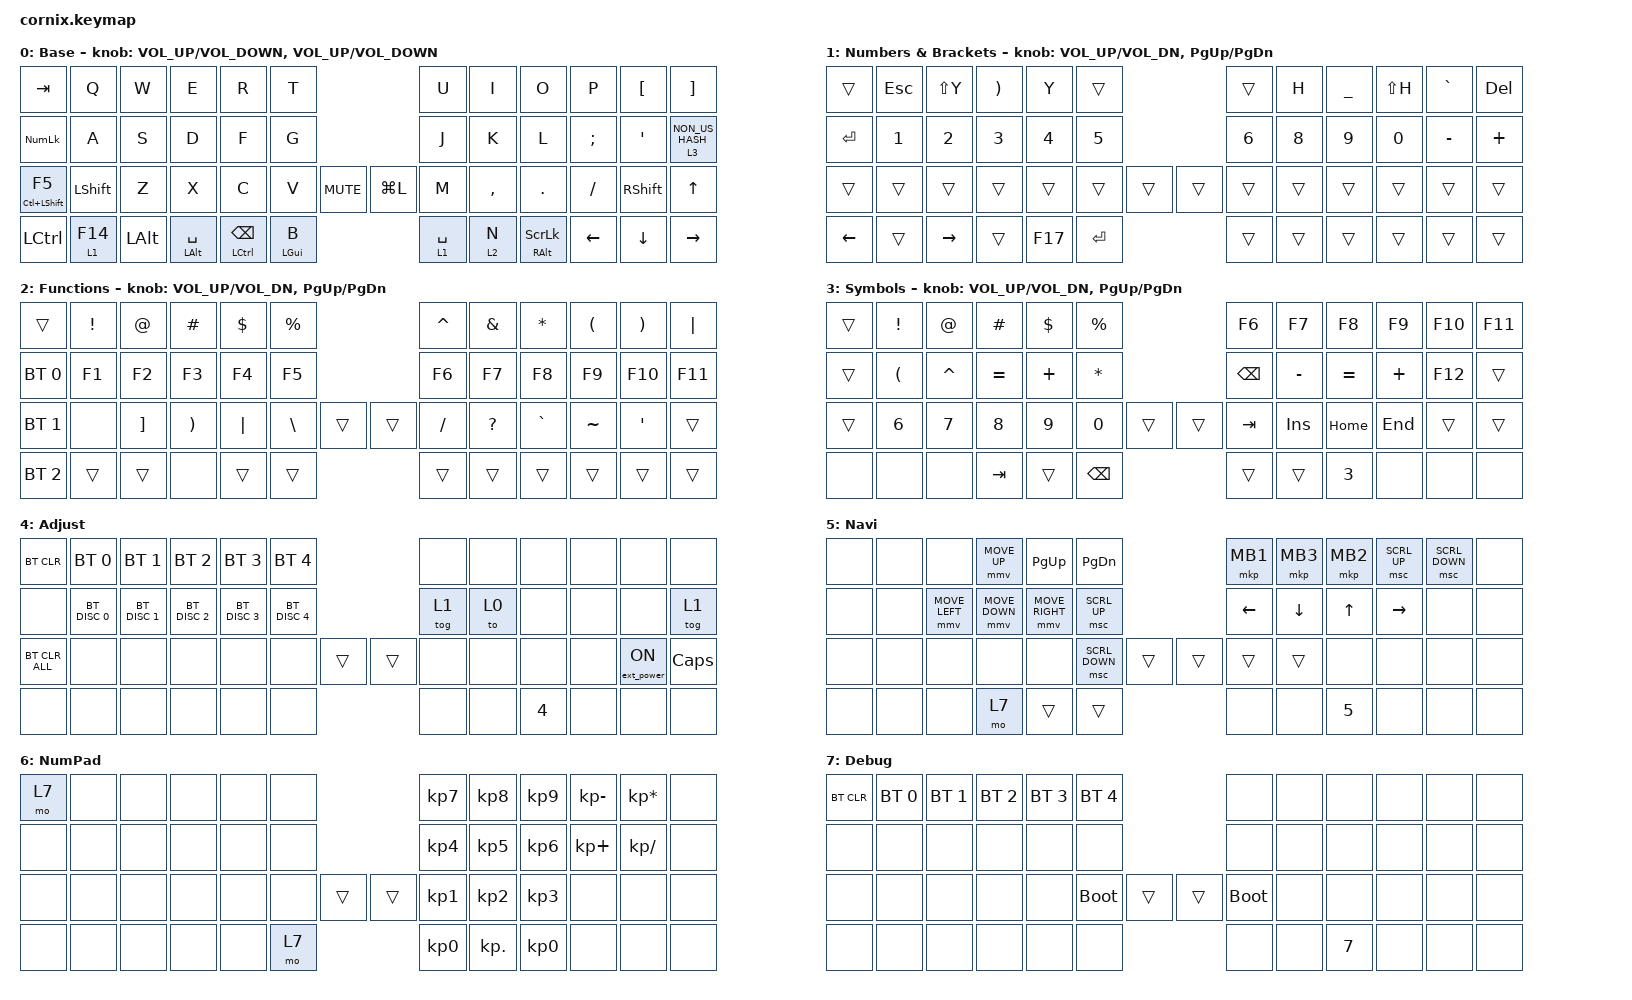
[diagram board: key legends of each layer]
/*
 * Copyright (c) 2020 The ZMK Contributors
 *
 * SPDX-License-Identifier: MIT
 */

#include "zmk-helpers/helper.h"
#include "includes/cornix54.h"

// tap windows for ctl alt and gui

#define HM_TAPPING_TERM 160
#define HM_TAPPING_REPEAT 210

// quick tapping for shift

#define HM_TAPPING_TERM_FAST 150
#define HM_PRIOR_IDLE 70
#define BASE 0
#define WIN 1
#define LOWER 2
#define RAISE 3
#define ADJUST 4
#define NAVI   5
#define NUM    6
#define DEBUG  7

// https://github.com/urob/zmk-config/tree/main#timeless-homerow-mods

#define KEYS_L LT0 LT1 LT2 LT3 LT4 LT5 LM0 LM1 LM2 LM3 LM4 LM5 LB0 LB1 LB2 LB3 LB4 LB5  // left hand
#define KEYS_R RT0 RT1 RT2 RT3 RT4 RT5 RM0 RM1 RM2 RM3 RM4 RM5 RB0 RB1 RB2 RB3 RB4 RB5  // right hand
#define THUMBS LH1 LH0 RH0 RH1
#define KEYS_T LH1 LH0 RH0 RH1
#define ZMK_POINTING_DEFAULT_SCRL_VAL 15

#include <behaviors.dtsi>
#include <dt-bindings/zmk/bt.h>
#include <dt-bindings/zmk/ext_power.h>
#include <dt-bindings/zmk/keys.h>
#include <dt-bindings/zmk/pointing.h>

/ {
    // Activate ADJUST layer by pressing raise and lower

    behaviors {
        hm_l: homerow_mods_left {
            compatible = "zmk,behavior-hold-tap";
            #binding-cells = <2>;
            bindings = <&kp>, <&kp>;

            flavor = "balanced";
            tapping-term-ms = <HM_TAPPING_TERM>;
            quick-tap-ms = <200>;                // repeat on tap-into-hold
            require-prior-idle-ms = <HM_PRIOR_IDLE>;
            hold-trigger-key-positions = <KEYS_R KEYS_T>;
            hold-trigger-on-release;
        };

        hm_r: homerow_mods_right {
            compatible = "zmk,behavior-hold-tap";
            #binding-cells = <2>;
            bindings = <&kp>, <&kp>;

            flavor = "balanced";
            tapping-term-ms = <HM_TAPPING_TERM>;
            quick-tap-ms = <200>;
            require-prior-idle-ms = <HM_PRIOR_IDLE>;
            hold-trigger-key-positions = <KEYS_L KEYS_T>;
            hold-trigger-on-release;
        };

        // Positional Homerow mods for shift
        // Use faster tapping term and disable some features that may
        // cause false negatives.
        /*
         * Non-Positional Homerow Mods
         * Used for &mm_grescm_gui behavior on left hand.
         *
         * Usage: &hm LSHFT T
         * Tap: T
         * Tap-Tap-Hold: Repeat T
         * Hold: LSHIFT
         */

        hm: homerow_mods {
            compatible = "zmk,behavior-hold-tap";
            #binding-cells = <2>;
            bindings = <&kp>, <&kp>;

            flavor = "balanced";
            tapping-term-ms = <HM_TAPPING_TERM>;
            quick-tap-ms = <200>;
            label = "Homerow Mods";
        };

        lt: layer_tap {
            compatible = "zmk,behavior-hold-tap";
            #binding-cells = <2>;
            bindings = <&mo>, <&kp>;

            flavor = "balanced";
            tapping-term-ms = <HM_TAPPING_TERM>;
            quick-tap-ms = <200>;
            label = "Layer Tap";
        };

        mt: mod_tap {
            compatible = "zmk,behavior-hold-tap";
            #binding-cells = <2>;
            bindings = <&kp>, <&kp>;

            flavor = "balanced";
            tapping-term-ms = <HM_TAPPING_TERM>;
            quick-tap-ms = <200>;
            label = "Mod Tap";
        };

        lt_no_repeat: lt_no_repeat {
            compatible = "zmk,behavior-hold-tap";
            #binding-cells = <2>;
            bindings = <&mo>, <&kp>;

            flavor = "balanced";
            tapping-term-ms = <HM_TAPPING_TERM>;
            quick-tap-ms = <0>;
            label = "LT_NO_REPEAT";
        };
    };

    conditional_layers {
        compatible = "zmk,conditional-layers";

        adjust_layer {
            if-layers = <3 2>;
            then-layer = <4>;
        };
    };

    combos {
        compatible = "zmk,combos";

        cb_ltm {
            bindings = <&kp PAUSE_BREAK>;
            key-positions = <12 15>;
            layers = <0 1>;
        };

        cb_lm {
            bindings = <&copy_n_dict_lookup>;
            key-positions = <12 3>;
            layers = <0 1>;
        };

        f19 {
            bindings = <&kp F19>;
            key-positions = <15 16 14>;
        };

        del {
            bindings = <&kp DELETE>;
            key-positions = <0 1>;
        };

        prev_tab {
            bindings = <&kp LC(LG(PG_UP))>;
            key-positions = <8 7>;
            require-prior-idle-ms = <150>;
        };

        next_tab {
            bindings = <&kp LC(LG(PAGE_DOWN))>;
            key-positions = <9 8>;
            require-prior-idle-ms = <150>;
        };

        rename_tab {
            bindings = <&kp LG(F2)>;
            key-positions = <9 7>;
            require-prior-idle-ms = <150>;
        };

        group_tabs {
            bindings = <&kp LC(LG(PLUS))>;
            key-positions = <9 8 7>;
            require-prior-idle-ms = <150>;
        };

        back {
            bindings = <&kp LA(LG(F19))>;
            key-positions = <33 34>;
            require-prior-idle-ms = <150>;
        };

        forward {
            bindings = <&kp LA(LC(LG(F19)))>;
            key-positions = <34 35>;
            require-prior-idle-ms = <150>;
        };

        open_foobar_r {
            bindings = <&kp LA(LC(F19))>;
            key-positions = <19 21 20>;
            require-prior-idle-ms = <150>;
        };

        pause {
            bindings = <&kp F19>;
            key-positions = <33 35>;
            require-prior-idle-ms = <150>;
        };

        vol_down {
            bindings = <&kp LC(F19)>;
            key-positions = <26 27>;
            require-prior-idle-ms = <150>;
        };

        vol_up {
            bindings = <&kp LA(F19)>;
            key-positions = <27 28>;
            require-prior-idle-ms = <150>;
        };

        media_pause {
            bindings = <&kp F19>;
            key-positions = <28 26>;
            require-prior-idle-ms = <150>;
        };

        open_foobar_l {
            bindings = <&kp LC(LA(F19))>;
            key-positions = <27 28 26>;
            require-prior-idle-ms = <150>;
        };

        change_audio_source {
            bindings = <&switch_audio>;
            key-positions = <1 2>;
        };
    };

    macros {
        copy_n_dict_lookup: copy_n_dict_lookup {
            compatible = "zmk,behavior-macro";
            #binding-cells = <0>;
            bindings =
                <&macro_tap>,
                <&kp LC(A)>,
                <&macro_wait_time 250>,
                <&kp LC(X)>,
                <&macro_wait_time 500>,
                <&kp PAUSE_BREAK>;

            label = "COPY_N_DICT_LOOKUP";
            tap-ms = <250>;
        };

        switch_audio: switch_audio {
            compatible = "zmk,behavior-macro";
            #binding-cells = <0>;
            bindings =
                <&macro_wait_time 100>,
                <&macro_press>,
                <&kp LCTRL>,
                <&macro_press>,
                <&kp LALT>,
                <&macro_press>,
                <&kp LGUI>,
                <&macro_tap>,
                <&kp Q>,
                <&macro_tap>,
                <&kp Q>,
                <&macro_release>,
                <&kp LGUI>,
                <&macro_release>,
                <&kp LALT>,
                <&macro_release>,
                <&kp LCTRL>,
                <&macro_tap>,
                <&kp LS(F10)>;

            label = "SWITCH_AUDIO";
            tap-ms = <150>;
        };
    };

    keymap {
        compatible = "zmk,keymap";

        default_layer {
            display-name = "Base";

            // ------------------------------------------------------------------------------------------------------------
            // |   `   |  1  |  2  |  3   |  4   |  5   |                   |  6   |  7    |  8    |  9   |   0   |       |
            // |  ESC  |  Q  |  W  |  E   |  R   |  T   |                   |  Y   |  U    |  I    |  O   |   P   | BKSPC |
            // |  TAB  |  A  |  S  |  D   |  F   |  G   |                   |  H   |  J    |  K    |  L   |   ;   |   '   |
            // | SHIFT |  Z  |  X  |  C   |  V   |  B   |  MUTE  |  |       |  N   |  M    |  ,    |  .   |   /   | SHIFT |
            //               | GUI | ALT  | CTRL | LOWER|  ENTER |  | SPACE | RAISE| CTRL  | ALT   | GUI  |

            bindings = <
&kp TAB            &kp Q      &kp W     &kp E           &kp R                &kp T                                  &kp U                  &kp I      &kp O                &kp P     &kp LBKT   &kp RBKT
&kp KP_NUMLOCK     &kp A      &kp S     &kp D           &kp F                &kp G                                  &kp J                  &kp K      &kp L                &kp SEMI  &kp SQT    &lt 3 NON_US_HASH
&mt LC(LSHIFT) F5  &kp LSHFT  &kp Z     &kp X           &kp C                &kp V           &kp C_MUTE  &kp LG(L)  &kp M                  &kp COMMA  &kp PERIOD           &kp FSLH  &kp RSHFT  &kp UP
&kp LCTRL          &lt 1 F14  &kp LALT  &mt LALT SPACE  &mt LCTRL BACKSPACE  &mt LEFT_GUI B                         &lt_no_repeat 1 SPACE  &lt 2 N    &mt RALT SCROLLLOCK  &kp LEFT  &kp DOWN   &kp RIGHT
            >;

            sensor-bindings =
                <&inc_dec_kp C_VOLUME_UP C_VOLUME_DOWN>,
                <&inc_dec_kp C_VOLUME_UP C_VOLUME_DOWN>;
        };

        num_layer {
            display-name = "Numbers & Brackets";

            // ------------------------------------------------------------------------------------------------------------
            // |   `   |  1  |  2  |  3   |  4   |  5   |                   |  6   |  7    |  8    |  9   |   0   |       |
            // |  ESC  |  Q  |  W  |  E   |  R   |  T   |                   |  Y   |  U    |  I    |  O   |   P   | BKSPC |
            // |  TAB  |  A  |  S  |  D   |  F   |  G   |                   |  H   |  J    |  K    |  L   |   ;   |   '   |
            // | SHIFT |  Z  |  X  |  C   |  V   |  B   |  MUTE  |  |       |  N   |  M    |  ,    |  .   |   /   | SHIFT |
            //               | GUI | ALT  | CTRL | LOWER|  ENTER |  | SPACE | RAISE| CTRL  | ALT   | GUI  |

            bindings = <
&trans     &kp ESCAPE  &kp LS(Y)        &kp RIGHT_PARENTHESIS  &kp Y    &trans                     &trans  &kp H   &kp UNDERSCORE  &kp LS(H)  &kp GRAVE  &kp DEL
&kp ENTER  &kp N1      &kp N2           &kp N3                 &kp N4   &kp N5                     &kp N6  &kp N8  &kp N9          &kp N0     &kp MINUS  &kp PLUS
&trans     &trans      &trans           &trans                 &trans   &trans     &trans  &trans  &trans  &trans  &trans          &trans     &trans     &trans
&kp LEFT   &trans      &kp RIGHT_ARROW  &trans                 &kp F17  &kp ENTER                  &trans  &trans  &trans          &trans     &trans     &trans
            >;

            sensor-bindings = <&inc_dec_kp C_VOL_UP C_VOL_DN &inc_dec_kp PG_UP PG_DN>;
        };

        F_layer {
            display-name = "Functions";

            // TODO: Some binds are waiting for shifted keycode support.
            // -------------------------------
            // |       |  F1 |  F2 |  F3  |  F4  |  F5  |                   |  F6  |  F7   |  F8   |  F9  |  F10  |  F11  |
            // |   `   |  1  |  2  |  3   |  4   |  5   |                   |  6   |  7    |  8    |  9   |   0   |  F12  |
            // |       |  !  |  @  |  #   |  $   |  %   |                   |  ^   |  &    |  *    |  (   |   )   |   |   |
            // |       |  =  |  -  |  +   |  {   |  }   |        |  |       |  [   |  ]    |  ;    |  :   |   \   |       |
            //               |     |      |      |      |        |  |       |      |       |       |      |

            bindings = <
&trans        &kp EXCL  &kp AT    &kp HASH  &kp DLLR  &kp PRCNT                  &kp CARET  &kp AMPS      &kp ASTRK  &kp LPAR   &kp RPAR  &kp PIPE
&bt BT_SEL 0  &kp F1    &kp F2    &kp F3    &kp F4    &kp F5                     &kp F6     &kp F7        &kp F8     &kp F9     &kp F10   &kp F11
&bt BT_SEL 1  &none     &kp RBKT  &kp RPAR  &kp PIPE  &kp BSLH   &trans  &trans  &kp FSLH   &kp QUESTION  &kp GRAVE  &kp TILDE  &kp SQT   &trans
&bt BT_SEL 2  &trans    &trans    &none     &trans    &trans                     &trans     &trans        &trans     &trans     &trans    &trans
            >;

            sensor-bindings = <&inc_dec_kp C_VOL_UP C_VOL_DN &inc_dec_kp PG_UP PG_DN>;
        };

        sym_layer {
            display-name = "Symbols";

            // ------------------------------------------------------------------------------------------------------------
            // | BTCLR | BT1  | BT2  |  BT3  |  BT4  |  BT5 |                |      |      |       |      |       |       |
            // |       | INS  | PSCR | GUI   |       |      |                | PGUP |      |   ^   |      |       |       |
            // |       | ALT  | CTRL | SHIFT |       | CAPS |                | PGDN |   <- |   v   |  ->  |  DEL  | BKSPC |
            // |       | UNDO | CUT  | COPY  | PASTE |      |      |  |      |      |      |       |      |       |       |
            //                |      |       |       |      |      |  |      |      |      |       |      |

            bindings = <
&trans  &kp EXCLAMATION       &kp AT_SIGN  &kp HASH   &kp DOLLAR  &kp PERCENT                    &kp F6    &kp F7     &kp F8     &kp F9    &kp F10  &kp F11
&trans  &kp LEFT_PARENTHESIS  &kp CARET    &kp EQUAL  &kp PLUS    &kp ASTERISK                   &kp BSPC  &kp MINUS  &kp EQUAL  &kp PLUS  &kp F12  &trans
&trans  &kp N6                &kp N7       &kp N8     &kp N9      &kp N0         &trans  &trans  &kp TAB   &kp INS    &kp HOME   &kp END   &trans   &trans
&none   &none                 &none        &kp TAB    &trans      &kp BACKSPACE                  &trans    &trans     &kp N3     &none     &none    &none
            >;

            sensor-bindings = <&inc_dec_kp C_VOL_UP C_VOL_DN &inc_dec_kp PG_UP PG_DN>;
        };

        Adjust_layer {
            display-name = "Adjust";

            // ----------------------------------------------------------------------------------------------------------------------------
            // | BTCLR  |  BT1    |  BT2    |   BT3   |   BT4   |   BT5   |                  |      |      |       |      |       |       |
            // | moDEBUG| RGB_HUD | RGB_HUI | RGB_SAD | RGB_SAI | RGB_EFF |                  |      |      |       |      |       |       |
            // | EXTPWR | RGB_BRD | RGB_BRI |         |         |         |                  |      |      |       |      |       |       |
            // |        |         |         |         |         |         | RGB_TOG | |      |      |      |       |      |       |       |
            //                    |         |         |         |         |         | |      |      |      |       |      |

            bindings = <
&bt BT_CLR      &bt BT_SEL 0   &bt BT_SEL 1   &bt BT_SEL 2   &bt BT_SEL 3   &bt BT_SEL 4                   &none   &none  &none   &none  &none             &none
&none           &bt BT_DISC 0  &bt BT_DISC 1  &bt BT_DISC 2  &bt BT_DISC 3  &bt BT_DISC 4                  &tog 1  &to 0  &none   &none  &none             &tog 1
&bt BT_CLR_ALL  &none          &none          &none          &none          &none          &trans  &trans  &none   &none  &none   &none  &ext_power EP_ON  &kp CAPSLOCK
&none           &none          &none          &none          &none          &none                          &none   &none  &kp N4  &none  &none             &none
            >;
        };

        Navi_layer {
            display-name = "Navi";
            bindings = <
&none  &none  &none           &mmv MOVE_UP    &kp PAGE_UP      &kp PAGE_DOWN                   &mkp MB1  &mkp MB3  &mkp MB2  &msc SCRL_UP  &msc SCRL_DOWN  &none
&none  &none  &mmv MOVE_LEFT  &mmv MOVE_DOWN  &mmv MOVE_RIGHT  &msc SCRL_UP                    &kp LEFT  &kp DOWN  &kp UP    &kp RIGHT     &none           &none
&none  &none  &none           &none           &none            &msc SCRL_DOWN  &trans  &trans  &trans    &trans    &none     &none         &none           &none
&none  &none  &none           &mo 7           &trans           &trans                          &none     &none     &kp N5    &none         &none           &none
            >;
        };

        KeyPad_layer {
            display-name = "NumPad";
            bindings = <
&mo 7  &none  &none  &none  &none  &none                  &kp KP_N7        &kp KP_N8        &kp KP_N9        &kp KP_MINUS  &kp KP_MULTIPLY  &none
&none  &none  &none  &none  &none  &none                  &kp KP_NUMBER_4  &kp KP_NUMBER_5  &kp KP_N6        &kp KP_PLUS   &kp KP_DIVIDE    &none
&none  &none  &none  &none  &none  &none  &trans  &trans  &kp KP_NUMBER_1  &kp KP_NUMBER_2  &kp KP_N3        &none         &none            &none
&none  &none  &none  &none  &none  &mo 7                  &kp KP_N0        &kp KP_DOT       &kp KP_NUMBER_0  &none         &none            &none
            >;
        };

        Debug_layer {
            display-name = "Debug";

            // ----------------------------------------------------------------------------------------------------------------------------
            // | BTCLR  |  BT1    |  BT2    |   BT3   |   BT4   |   BT5   |                  |      |      |       |      |       |       |
            // | EXTPWR | BTCLR | RGB_HUI | RGB_SAD | RGB_SAI | RGB_EFF |                  |      |      |       |      |       |       |
            // |        | RGB_BRD | RGB_BRI |         |         |         |                  |      |      |       |      |       |       |
            // |        |         |         |         |         |         | RGB_TOG | |      |      |      |       |      |       |       |
            //                    |         |         |         |         |         | |      |      |      |       |      |

            bindings = <
&bt BT_CLR  &bt BT_SEL 0  &bt BT_SEL 1  &bt BT_SEL 2  &bt BT_SEL 3  &bt BT_SEL 4                  &none        &none  &none   &none  &none  &none
&none       &none         &none         &none         &none         &none                         &none        &none  &none   &none  &none  &none
&none       &none         &none         &none         &none         &bootloader   &trans  &trans  &bootloader  &none  &none   &none  &none  &none
&none       &none         &none         &none         &none         &none                         &none        &none  &kp N7  &none  &none  &none
            >;
        };
    };
};
